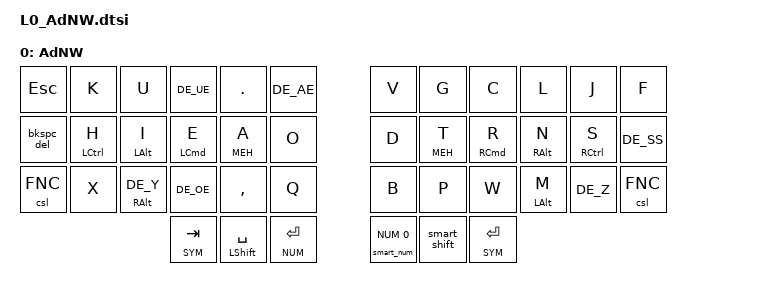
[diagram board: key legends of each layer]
/**
 * Alpha Layer - AdNW - Aus der NEO Welt
 */

/ {
  keymap {
    compatible = "zmk,keymap";

    layer_def_adnw {
      label = "AdNW";
      bindings = <
// ╭───────────────┬───────────────┬───────────────┬───────────────┬───────────────┬───────────────╮   ╭───────────────┬───────────────┬───────────────┬───────────────┬───────────────┬───────────────╮
//  0               1               2               3               4               5                   6               7               8               9               10              11
    &kp ESC         &kp K           &kp U           &kp DE_UE       &kp DOT         &kp DE_AE           &kp V           &kp G           &kp C           &kp L           &kp J           &kp F
// ├───────────────├───────────────┼───────────────┼───────────────┼───────────────┼───────────────┤   ├───────────────├───────────────┼───────────────┼───────────────┼───────────────┼───────────────┤
//  12              13              14              15              16              17                  18              19              20              21              22              23
    &bkspc_del      &mt LCTRL H     &mt LALT I      &mt LCMD E      &mt MEH A       &kp O               &kp D           &mt MEH T       &mt RCMD R      &mt RALT N      &mt RCTRL S     &kp DE_SS
// ├───────────────├───────────────┼───────────────┼───────────────┼───────────────┼───────────────┤   ├───────────────├───────────────┼───────────────┼───────────────┼───────────────┼───────────────┤
//  24              25              26              27              28              29                  30              31              32              33              34              35
    &csl FNC        &kp X           &mt RALT DE_Y   &kp DE_OE       &kp COMMA       &kp Q               &kp B           &kp P           &kp W           &mt LALT M      &kp DE_Z        &csl FNC
// ╰───────────────┴───────────────┴───────────────┼───────────────┼───────────────┼───────────────┤   ├───────────────├───────────────┼───────────────┼───────────────┴───────────────┴───────────────╯
//                                                  36              37              38                  39              40              41
                                                    &lt SYM TAB     &mt LSHFT SPACE &lt NUM ENTER       &smart_num NUM 0 &smart_shift   &lt SYM ENTER
//                                                 ╰───────────────┴───────────────┴───────────────╯   ╰───────────────┴───────────────┴───────────────╯
      >;
    };
  };
};


